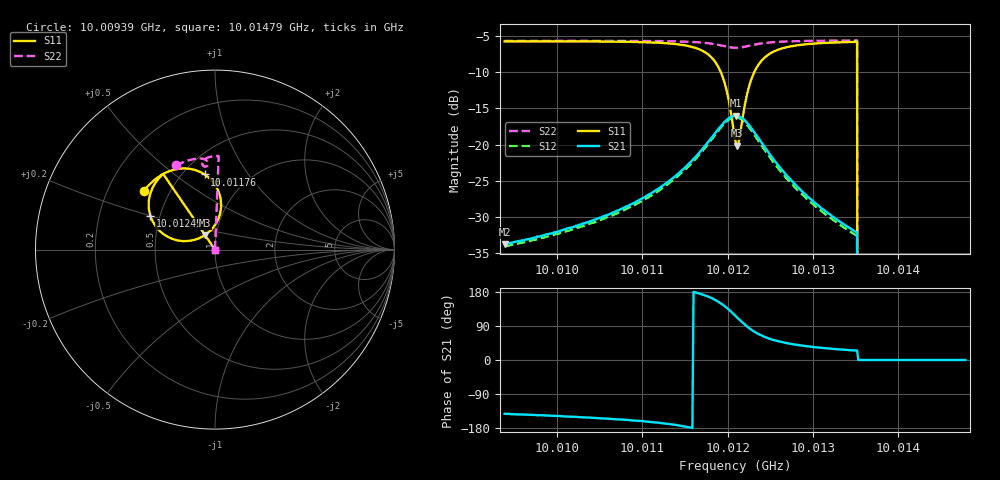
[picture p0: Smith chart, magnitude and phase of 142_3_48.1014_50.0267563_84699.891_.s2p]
#  HZ  S  RI  R  50.00
! Rohde & Schwarz Vector Network Analyzer
! Rohde-Schwarz,ZNB20-2Port,1311601062101988,3.16
! Created: UTC 12/23/2023, 3:48:52 AM
! freq[Hz]  re:S11  im:S11  re:S21  im:S21  re:S12  im:S12  re:S22  im:S22
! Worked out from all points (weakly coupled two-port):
!   401 points, 10.00939 GHz to 10.01479 GHz, reference 50 ohm
!   highest |S21| = -16.00 dB at 10.0121 GHz (marker M1); lowest = -33.7 dB at 10.00939 GHz (marker M2)
!   lowest |S11| = -20.1 dB at 10.01211 GHz (marker M3), VSWR 1.22, Z = 44 + j7.12 ohm
!   |S11| at or under -10 dB: 10.01192 GHz to 10.01231 GHz (393.4 kHz wide, 0.00393 % of centre); 10.01352 GHz to end of sweep
!   |S22| runs from - to -5.6 dB; largest |S21 - S12| = 0.0079
!   S11 on the Smith chart (normalised r, x): 10.00939 GHz: 0.36, +0.32; 10.01176 GHz: 0.63, +0.65; 10.01245 GHz: 0.44, +0.20; 10.01479 GHz: 1.00, +0.00
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1.0009386e10  -0.3966 0.3278  -0.0161 -0.0127  -0.0152 -0.013  -0.2183 0.4694
1.001029e10  -0.3417 0.3845  -0.0248 -0.0138  -0.0232 -0.0143  -0.1624 0.4924
1.0011195e10  -0.2413 0.4417  -0.0484 -0.0123  -0.0462 -0.0141  -0.0993 0.5072
1.0011506e10  -0.1672 0.4524  -0.0698 -0.00502  -0.067 -0.0086  -0.0734 0.5071
1.0011762e10  -0.0579 0.4185  -0.1004 0.0207  -0.0984 0.015  -0.049 0.498
1.001187e10  0.00104 0.3594  -0.1132 0.0495  -0.1126 0.0421  -0.0406 0.4879
1.0011951e10  0.0316 0.2802  -0.1147 0.0815  -0.1154 0.0744  -0.0386 0.4769
1.0012005e10  0.0304 0.2104  -0.106 0.1073  -0.1078 0.1  -0.0407 0.4692
1.0012086e10  -0.0249 0.1064  -0.0732 0.1402  -0.0767 0.1339  -0.0511 0.4621
1.00121e10  -0.0408 0.0921  -0.0658 0.1441  -0.0695 0.1375  -0.0531 0.4617
1.0012113e10  -0.0572 0.0801  -0.0585 0.1466  -0.0618 0.1406  -0.0553 0.4617
1.001214e10  -0.0944 0.061  -0.0426 0.1501  -0.0463 0.1442  -0.0594 0.4626
1.0012194e10  -0.1724 0.0473  -0.0124 0.1476  -0.0169 0.1422  -0.0664 0.4672
1.0012275e10  -0.2689 0.0746  0.0221 0.1287  0.0169 0.1244  -0.0708 0.4785
1.0012356e10  -0.3282 0.1272  0.0397 0.1045  0.0345 0.1015  -0.0691 0.4891
1.0012451e10  -0.3597 0.188  0.0473 0.0801  0.042 0.0782  -0.0631 0.4987
1.0012681e10  -0.3657 0.2909  0.0442 0.0443  0.04 0.044  -0.0435 0.5118
1.0012991e10  -0.3379 0.3626  0.0339 0.0234  0.0311 0.0239  -0.0181 0.5188
1.0013491e10  -0.2913 0.4195  0.0228 0.0108  0.0211 0.0114  0.0186 0.5217
1.0013558e10  0 0  0 0  0 0  0 0
1.0013896e10  0 0  0 0  0 0  0 0
1.0014787e10  0 0  0 0  0 0  0 0
